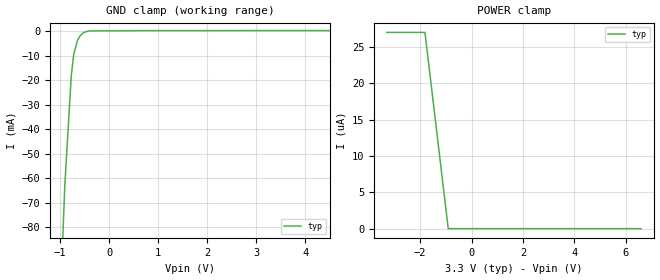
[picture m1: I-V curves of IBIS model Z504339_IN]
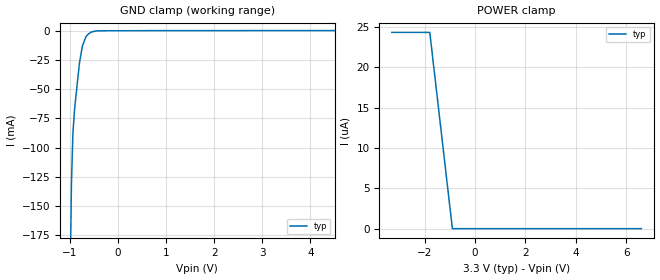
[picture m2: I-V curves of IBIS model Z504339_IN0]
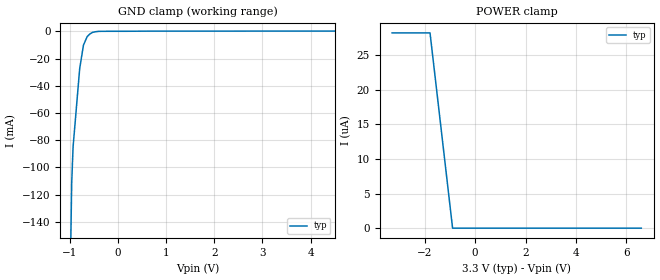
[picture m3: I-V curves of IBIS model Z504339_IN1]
| YOU ARE ONLY AUTHORIZED TO USE THIS SOFTWARE
| ACCORDING TO LICENSOR'S LICENSE RESTRICTIONS.
[IBIS Ver] 3.1
[File Name] mc74lcx16373dt.ibs
[File Rev] 2.0
[Source] Measured and created by ICX Technology
[Date] Friday 7/14/00 9:08:12 AM
[Copyright]
| (C) COPYRIGHT 1993-2000
| MENTOR GRAPHICS CORPORATION
| ICX STANDARD LIBRARY, ICX PROJECT MODELING,
| ICX CUSTOM MODELING, ICX VENDOR MODEL
| ALL RIGHTS RESERVED.
| THE FOLLOWING ARE TRADEMARKS OR SERVICE MARKS OF
| MENTOR GRAPHICS CORPORATION:ICX (R), ICX STANDARD
| LIBRARY(R), ICX PROJECT MODELING(R), ICX CUSTOM
| MODELING(R), qualityIBIS(TM), MODELVIEWER(TM),
| AND MODELEDITOR(TM)
| ALL COPIES OF SOFTWARE, INCLUDING BUT NOT LIMITED TO
| ANY MODIFICATIONS, ENHANCEMENTS OR DERIVATIVE WORKS,
| MUST CONTAIN ALL MENTOR GRAPHICS CORPORATION'S
| NOTICES AND LEGENDS, INCLUDING THOSE EMBEDDED IN
| SOFTWARE AND THOSE AFFIXED TO SOFTWARE MEDIUM
| AND CONTAINER, AS RECEIVED FROM MENTOR GRAPHICS
| CORPORATION.
|  ZAP Model Builder 2.7
[Component] MC74LCX16373DT
[Manufacturer] OnSemiconductor
[Package]
| variable   typ   min   max
R_pkg  .153ohms NA NA
L_pkg  2.946nH NA NA
C_pkg  .275pF NA NA
[Pin] signal_name  model_name  R_pin  L_pin C_pin
1 1OE_BAR Z504339_IN0 .171 5.2n .49p
2 1Q1 Z504339_TRI .168 4.65n .44p
3 1Q2 Z504339_TRI .164 4.14n .39p
4 GND GND .161 3.64n .33p
5 1Q3 Z504339_TRI .158 3.17n .28p
6 1Q4 Z504339_TRI .155 2.63n .23p
7 VCC POWER .152 2.39n .22p
8 1Q5 Z504339_TRI .148 2.16n .21p
9 1Q6 Z504339_TRI .145 2.0n .2p
10 GND GND .142 1.87n .18p
11 1Q7 Z504339_TRI .139 1.75n .17p
12 1Q8 Z504339_TRI .136 1.75n .16p
13 2Q1 Z504339_TRI .136 1.75n .16p
14 2Q2 Z504339_TRI .139 1.75n .17p
15 GND GND .142 1.87n .18p
16 2Q3 Z504339_TRI .145 2.0n .2p
17 2Q4 Z504339_TRI .148 2.16n .21p
18 VCC POWER .152 2.39n .22p
19 2Q5 Z504339_TRI .155 2.63n .23p
20 2Q6 Z504339_TRI .158 3.17n .28p
21 GND GND .161 3.64n .33p
22 2Q7 Z504339_TRI .164 4.14n .39p
23 2Q8 Z504339_TRI .168 4.65n .44p
24 2OE_BAR Z504339_IN0 .171 5.2n .49p
25 2LE Z504339_IN1 .171 5.2n .49p
26 2D8 Z504339_IN .168 4.65n .44p
27 2D7 Z504339_IN .164 4.14n .39p
28 GND GND .161 3.64n .33p
29 2D6 Z504339_IN .158 3.17n .28p
30 2D5 Z504339_IN .155 2.63n .23p
31 VCC POWER .152 2.39n .22p
32 2D4 Z504339_IN .148 2.16n .21p
33 2D3 Z504339_IN .145 2.0n .2p
34 GND GND .142 1.87n .18p
35 2D2 Z504339_IN .139 1.75n .17p
36 2D1 Z504339_IN .136 1.75n .16p
37 1D8 Z504339_IN .136 1.75n .16p
38 1D7 Z504339_IN .139 1.75n .17p
39 GND GND .142 1.87n .18p
40 1D6 Z504339_IN .145 2.0n .2p
41 1D5 Z504339_IN .148 2.16n .21p
42 VCC POWER .152 2.39n .22p
43 1D4 Z504339_IN .155 2.63n .23p
44 1D3 Z504339_IN .158 3.17n .28p
45 GND GND .161 3.64n .33p
46 1D2 Z504339_IN .164 4.14n .39p
47 1D1 Z504339_IN .168 4.65n .44p
48 1LE Z504339_IN1 .171 5.2n .49p
| Models and submodels in the file (4): Z504339_IN (Input), Z504339_IN0 (Input), Z504339_IN1 (Input), Z504339_TRI (3-state)
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| (C) COPYRIGHT 1993-2000
| MENTOR GRAPHICS CORPORATION
| ICX STANDARD LIBRARY, ICX PROJECT MODELING,
| ICX CUSTOM MODELING, ICX VENDOR MODEL
| ALL RIGHTS RESERVED.
| THE FOLLOWING ARE TRADEMARKS OR SERVICE MARKS OF
| MENTOR GRAPHICS CORPORATION:ICX (R), ICX STANDARD
| LIBRARY(R), ICX PROJECT MODELING(R), ICX CUSTOM
| MODELING(R), qualityIBIS(TM), MODELVIEWER(TM),
| AND MODELEDITOR(TM)
| ALL COPIES OF SOFTWARE, INCLUDING BUT NOT LIMITED TO
| ANY MODIFICATIONS, ENHANCEMENTS OR DERIVATIVE WORKS,
| MUST CONTAIN ALL MENTOR GRAPHICS CORPORATION'S
| NOTICES AND LEGENDS, INCLUDING THOSE EMBEDDED IN
| SOFTWARE AND THOSE AFFIXED TO SOFTWARE MEDIUM
| AND CONTAINER, AS RECEIVED FROM MENTOR GRAPHICS
| CORPORATION.
| Model Application Version 1.89 2/18/99.
[Model] Z504339_IN
Model_type Input
Vinl = 800.0mV
Vinh = 2.000V
C_comp 4.000pF NA NA
| variable typ   min   max
[Voltage Range] 3.300V NA NA
[GND Clamp Reference] 0.000V NA NA
[POWER Clamp Reference] 3.300V NA NA
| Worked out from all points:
|   GND clamp passes 1 mA (typ) near -0.55 V on its own axis
[GND Clamp]
-3.3V     -1.585A    NA         NA
-1.045V   -135.2mA   NA         NA
-902.6mV  -62.48mA   NA         NA
-771.3mV  -17.94mA   NA         NA
-722.1mV  -9.467mA   NA         NA
-644.5mV  -3.686mA   NA         NA
-587.1mV  -1.841mA   NA         NA
-531.9mV  -715.2uA   NA         NA
-410.2mV  37uA       NA         NA
-205.1mV  90.64uA    NA         NA
6.6V      213.1uA    NA         NA
[POWER Clamp]
-3.3V     27uA       NA         NA
-1.812V   27uA       NA         NA
-906mV    0A         NA         NA
6.6V      0A         NA         NA
| (C) COPYRIGHT 1993-2000
| MENTOR GRAPHICS CORPORATION
| ICX STANDARD LIBRARY, ICX PROJECT MODELING,
| ICX CUSTOM MODELING, ICX VENDOR MODEL
| ALL RIGHTS RESERVED.
| THE FOLLOWING ARE TRADEMARKS OR SERVICE MARKS OF
| MENTOR GRAPHICS CORPORATION:ICX (R), ICX STANDARD
| LIBRARY(R), ICX PROJECT MODELING(R), ICX CUSTOM
| MODELING(R), qualityIBIS(TM), MODELVIEWER(TM),
| AND MODELEDITOR(TM)
| ALL COPIES OF SOFTWARE, INCLUDING BUT NOT LIMITED TO
| ANY MODIFICATIONS, ENHANCEMENTS OR DERIVATIVE WORKS,
| MUST CONTAIN ALL MENTOR GRAPHICS CORPORATION'S
| NOTICES AND LEGENDS, INCLUDING THOSE EMBEDDED IN
| SOFTWARE AND THOSE AFFIXED TO SOFTWARE MEDIUM
| AND CONTAINER, AS RECEIVED FROM MENTOR GRAPHICS
| CORPORATION.
| Model Application Version 1.89 2/18/99.
[Model] Z504339_IN0
Model_type Input
Vinl = 800.0mV
Vinh = 2.000V
C_comp 4.000pF NA NA
| variable typ   min   max
[Voltage Range] 3.300V NA NA
[GND Clamp Reference] 0.000V NA NA
[POWER Clamp Reference] 3.300V NA NA
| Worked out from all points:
|   GND clamp passes 1 mA (typ) near -0.55 V on its own axis
[GND Clamp]
-3.3V     -1.789A    NA         NA
-1.006V   -259mA     NA         NA
-965.8mV  -131.6mA   NA         NA
-934.6mV  -87.14mA   NA         NA
-898.4mV  -66.33mA   NA         NA
-799.3mV  -27.6mA    NA         NA
-737.2mV  -12.89mA   NA         NA
-662.9mV  -4.873mA   NA         NA
-549.3mV  -1.043mA   NA         NA
-429.7mV  -39.03uA   NA         NA
-214.8mV  78.13uA    NA         NA
6.6V      226.7uA    NA         NA
[POWER Clamp]
-3.3V     24.3uA     NA         NA
-1.793V   24.3uA     NA         NA
-896.5mV  0A         NA         NA
6.6V      0A         NA         NA
| (C) COPYRIGHT 1993-2000
| MENTOR GRAPHICS CORPORATION
| ICX STANDARD LIBRARY, ICX PROJECT MODELING,
| ICX CUSTOM MODELING, ICX VENDOR MODEL
| ALL RIGHTS RESERVED.
| THE FOLLOWING ARE TRADEMARKS OR SERVICE MARKS OF
| MENTOR GRAPHICS CORPORATION:ICX (R), ICX STANDARD
| LIBRARY(R), ICX PROJECT MODELING(R), ICX CUSTOM
| MODELING(R), qualityIBIS(TM), MODELVIEWER(TM),
| AND MODELEDITOR(TM)
| ALL COPIES OF SOFTWARE, INCLUDING BUT NOT LIMITED TO
| ANY MODIFICATIONS, ENHANCEMENTS OR DERIVATIVE WORKS,
| MUST CONTAIN ALL MENTOR GRAPHICS CORPORATION'S
| NOTICES AND LEGENDS, INCLUDING THOSE EMBEDDED IN
| SOFTWARE AND THOSE AFFIXED TO SOFTWARE MEDIUM
| AND CONTAINER, AS RECEIVED FROM MENTOR GRAPHICS
| CORPORATION.
| Model Application Version 1.89 2/18/99.
[Model] Z504339_IN1
Model_type Input
Vinl = 800.0mV
Vinh = 2.000V
C_comp 4.000pF NA NA
| variable typ   min   max
[Voltage Range] 3.300V NA NA
[GND Clamp Reference] 0.000V NA NA
[POWER Clamp Reference] 3.300V NA NA
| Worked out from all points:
|   GND clamp passes 1 mA (typ) near -0.54 V on its own axis
[GND Clamp]
-3.3V     -1.829A    NA         NA
-1.034V   -270.3mA   NA         NA
-966.8mV  -112.3mA   NA         NA
-937.5mV  -84.96mA   NA         NA
-799.8mV  -27.34mA   NA         NA
-720.9mV  -10.05mA   NA         NA
-644.5mV  -3.847mA   NA         NA
-531.6mV  -730.6uA   NA         NA
-410.2mV  16.4uA     NA         NA
-205.1mV  73.66uA    NA         NA
6.6V      220.2uA    NA         NA
[POWER Clamp]
-3.3V     28.2uA     NA         NA
-1.793V   28.2uA     NA         NA
-896.5mV  0A         NA         NA
6.6V      0A         NA         NA
